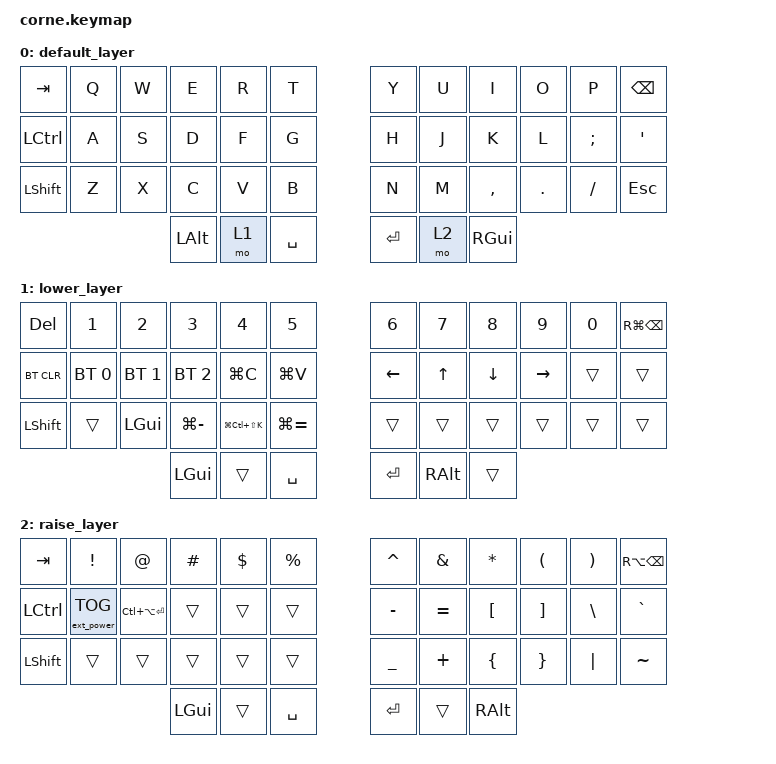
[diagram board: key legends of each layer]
/*
 * Copyright (c) 2020 The ZMK Contributors
 *
 * SPDX-License-Identifier: MIT
 */

#include <behaviors.dtsi>
#include <dt-bindings/zmk/keys.h>
#include <dt-bindings/zmk/bt.h>
#include <dt-bindings/zmk/ext_power.h>

/ {
	keymap {
		compatible = "zmk,keymap";

		/*
		 * Default
		 * ┌──────┬──────┬──────┬──────┬──────┬──────┐   ┌──────┬──────┬──────┬──────┬──────┬──────┐
		 * │ TAB  │  Q   │  W   │  E   │  R   │  T   │   │  Y   │  U   │  I   │  O   │  P   │ BSPC │
		 * ├──────┼──────┼──────┼──────┼──────┼──────┤   ├──────┼──────┼──────┼──────┼──────┼──────┤
		 * │ CTRL │  A   │  S   │  D   │  F   │  G   │   │  H   │  J   │  K   │  L   │  ;   │  '   │
		 * ├──────┼──────┼──────┼──────┼──────┼──────┤   ├──────┼──────┼──────┼──────┼──────┼──────┤
		 * │ SHFT │  Z   │  X   │  C   │  V   │  B   │   │  N   │  M   │  ,   │  .   │  /   │ ESC  │
		 * └──────┴──────┴──────┼──────┼──────┼──────┤   ├──────┼──────┼──────┴──────┴──────┴──────┘
		 *                      │ LALT │ LWR  │ SPC  │   │ ENT  │ RSE  │ RGUI │
		 *                      └──────┴──────┴──────┘   └──────┴──────┴──────┘
		 */
		default_layer {
			bindings = <
				&kp TAB    &kp Q      &kp W      &kp E      &kp R      &kp T            &kp Y      &kp U      &kp I      &kp O      &kp P      &kp BSPC
				&kp LCTRL  &kp A      &kp S      &kp D      &kp F      &kp G            &kp H      &kp J      &kp K      &kp L      &kp SEMI   &kp SQT
				&kp LSHFT  &kp Z      &kp X      &kp C      &kp V      &kp B            &kp N      &kp M      &kp COMMA  &kp DOT    &kp FSLH   &kp ESC
				                                 &kp LALT   &mo 1      &kp SPACE        &kp RET    &mo 2      &kp RGUI
			>;
		};

		/*
		 * Lower
		 * ┌──────┬──────┬──────┬──────┬──────┬──────┐   ┌──────┬──────┬──────┬──────┬──────┬──────┐
		 * │ DEL  │  1   │  2   │  3   │  4   │  5   │   │  6   │  7   │  8   │  9   │  0   │RG+BSP│
		 * ├──────┼──────┼──────┼──────┼──────┼──────┤   ├──────┼──────┼──────┼──────┼──────┼──────┤
		 * │BTCLR │ BT1  │ BT2  │ BT3  │LGC   │LGV   │   │ LFT  │ UP   │ DWN  │ RGT  │      │      │
		 * ├──────┼──────┼──────┼──────┼──────┼──────┤   ├──────┼──────┼──────┼──────┼──────┼──────┤
		 * │ SHFT │      │ LGUI │LG(-) │hyper │LG(=) │   │      │      │      │      │      │      │
		 * └──────┴──────┴──────┼──────┼──────┼──────┤   ├──────┼──────┼──────┴──────┴──────┴──────┘
		 *                      │ LGUI │      │ SPC  │   │ ENT  │ RALT │      │
		 *                      └──────┴──────┴──────┘   └──────┴──────┴──────┘
		 */
		lower_layer {
			bindings = <
				&kp DEL     &kp N1        &kp N2        &kp N3        &kp N4            &kp N5             &kp N6     &kp N7     &kp N8     &kp N9     &kp N0     &kp RG(BSPC)
				&bt BT_CLR  &bt BT_SEL 0  &bt BT_SEL 1  &bt BT_SEL 2  &kp LG(C)         &kp LG(V)          &kp LEFT   &kp UP     &kp DOWN    &kp RIGHT  &trans      &trans
				&kp LSHFT   &trans        &kp LGUI      &kp LG(MINUS) &kp LG(LC(LS(K))) &kp LG(EQUAL)      &trans     &trans     &trans      &trans      &trans      &trans
				                                        &kp LGUI      &trans            &kp SPACE          &kp RET    &kp RALT   &trans
			>;
		};

		/*
		 * Raise
		 * ┌──────┬──────┬──────┬──────┬──────┬──────┐   ┌──────┬──────┬──────┬──────┬──────┬──────┐
		 * │ TAB  │  !   │  @   │  #   │  $   │  %   │   │  ^   │  &   │  *   │  (   │  )   │RA+BSP│
		 * ├──────┼──────┼──────┼──────┼──────┼──────┤   ├──────┼──────┼──────┼──────┼──────┼──────┤
		 * │ CTRL │EP_TOG│CA+RET│      │      │      │   │  -   │  =   │  [   │  ]   │  \   │  `   │
		 * ├──────┼──────┼──────┼──────┼──────┼──────┤   ├──────┼──────┼──────┼──────┼──────┼──────┤
		 * │ SHFT │      │      │      │      │      │   │  _   │  +   │  {   │  }   │  |   │  ~   │
		 * └──────┴──────┴──────┼──────┼──────┼──────┤   ├──────┼──────┼──────┴──────┴──────┴──────┘
		 *                      │ LGUI │      │ SPC  │   │ ENT  │      │ RALT │
		 *                      └──────┴──────┴──────┘   └──────┴──────┴──────┘
		 */
		raise_layer {
			bindings = <
				&kp TAB    &kp EXCL              &kp AT          &kp HASH   &kp DLLR   &kp PRCNT        &kp CARET  &kp AMPS   &kp ASTRK  &kp LPAR   &kp RPAR   &kp RA(BSPC)
				&kp LCTRL  &ext_power EP_TOG     &kp LC(LA(RET)) &trans     &trans     &trans           &kp MINUS  &kp EQUAL  &kp LBKT   &kp RBKT   &kp BSLH   &kp GRAVE
				&kp LSHFT  &trans                &trans          &trans     &trans     &trans           &kp UNDER  &kp PLUS   &kp LBRC   &kp RBRC   &kp PIPE   &kp TILDE
				                                                 &kp LGUI   &trans     &kp SPACE        &kp RET    &trans      &kp RALT
			>;
		};
	};
};

&led_strip {
	chain-length = <27>;
};
